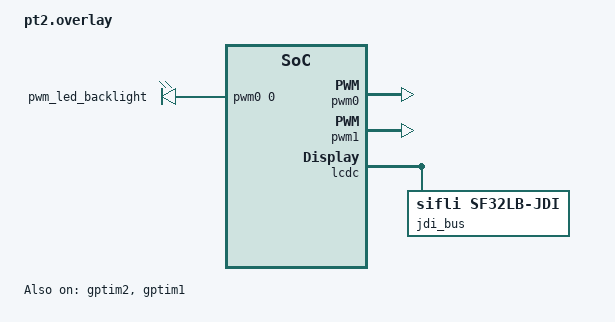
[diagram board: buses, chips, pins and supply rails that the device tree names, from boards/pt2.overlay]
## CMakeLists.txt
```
# Copyright (c) 2026, Qingsong Gou <gouqs@hotmail.com>
# SPDX-License-Identifier: Apache-2.0

cmake_minimum_required(VERSION 3.20.0)
find_package(Zephyr REQUIRED HINTS $ENV{ZEPHYR_BASE})
project(display_random_color)

target_sources(app PRIVATE src/main.c)
```

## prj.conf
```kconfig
# Copyright (c) 2026, Qingsong Gou <gouqs@hotmail.com>
# SPDX-License-Identifier: Apache-2.0

CONFIG_LOG=y
CONFIG_DISPLAY=y
CONFIG_PWM=y
CONFIG_DISPLAY_LOG_LEVEL_DBG=y
```

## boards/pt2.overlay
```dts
/*
 * Copyright (c) 2026 Qingsong Gou <gouqs@hotmail.com>
 * SPDX-License-Identifier: Apache-2.0
 */

#include <zephyr/dt-bindings/pwm/pwm.h>
#include <zephyr/dt-bindings/pinctrl/sf32lb52x-pinctrl.h>

/ {
	chosen {
		zephyr,display = &ls013b7dh03;
	};

	pwmleds {
		compatible = "pwm-leds";

		pwm_led_backlight: pwm_led_backlight {
			pwms = <&pwm0 0 PWM_MSEC(10) PWM_POLARITY_NORMAL>;
		};
	};

	aliases {
		pwm-led0 = &pwm_led_backlight;
	};
};

&pinctrl {
	jdi_default: jdi_default {
		group1 {
			pinmux = <PA02_LCDC1_JDI_B2>,
				 <PA03_LCDC1_JDI_B1>,
				 <PA04_LCDC1_JDI_G1>,
				 <PA05_LCDC1_JDI_R1>,
				 <PA06_LCDC1_JDI_HST>,
				 <PA07_LCDC1_JDI_ENB>,
				 <PA08_LCDC1_JDI_VST>,
				 <PA39_LCDC1_JDI_VCK>,
				 <PA40_LCDC1_JDI_XRST>,
				 <PA41_LCDC1_JDI_HCK>,
				 <PA42_LCDC1_JDI_R2>,
				 <PA43_LCDC1_JDI_G2>;
			input-enable;
			input-schmitt-enable;
		};
	};

	pwm0_default: pwm0_default {
		group1 {
			pinmux = <PA01_GPTIM2_CH1>;
		};
	};

	vcom_pwm_default: vcom_pwm_default {
		group1 {
			pinmux = <PA24_GPTIM1_CH1>, <PA25_GPTIM1_CH2>;
		};
	};
};

&gptim2 {
	status = "okay";
	sifli,prescaler = <23>;

	pwm0: pwm {
		status = "okay";
		pinctrl-0 = <&pwm0_default>;
		pinctrl-names = "default";
	};
};

&gptim1 {
	status = "okay";
	sifli,prescaler = <2399>;

	pwm1: pwm {
		status = "okay";
		pinctrl-0 = <&vcom_pwm_default>;
		pinctrl-names = "default";
	};
};

&lcdc {
	status = "okay";

	jdi_bus: jdi {
		compatible = "sifli,sf32lb-jdi";
		#address-cells = <1>;
		#size-cells = <0>;
		pinctrl-0 = <&jdi_default>;
		pinctrl-names = "default";

		ls013b7dh03: ls013b7dh03@0 {
			compatible = "jdi,parallel";
			reg = <0>;
			width = <200>;
			height = <228>;

			vlcd-gpios = <&gpioa_00_31 29 GPIO_ACTIVE_HIGH>;
			vddp-gpios = <&gpioa_00_31 28 GPIO_ACTIVE_HIGH>;
			power-seq-delay-ms = <11>;
			pwms = <&pwm1 0 PWM_HZ(60) PWM_POLARITY_NORMAL>,
			       <&pwm1 1 PWM_HZ(60) PWM_POLARITY_INVERTED>;
			clock-frequency = <746268>;
			bank_col_head = <2>;
			valid-columns = <200>;
			bank_col_tail = <6>;
			bank_row_head = <0>;
			valid-rows = <228>;
			bank-row-tail = <6>;
			enb-start-col = <3>;
			enb-end-col = <99>;
		};
	};
};
```

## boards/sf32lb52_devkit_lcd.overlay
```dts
/*
 * Copyright (c) 2026 Qingsong Gou <gouqs@hotmail.com>
 * SPDX-License-Identifier: Apache-2.0
 */

#include <zephyr/dt-bindings/pwm/pwm.h>
#include <zephyr/dt-bindings/pinctrl/sf32lb52x-pinctrl.h>

/ {
	chosen {
		zephyr,display = &jdi_bus;
	};

	pwmleds {
		compatible = "pwm-leds";

		pwm_led_backlight: pwm_led_backlight {
			pwms = <&pwm0 0 PWM_MSEC(10) PWM_POLARITY_NORMAL>;
		};
	};

	aliases {
		pwm-led0 = &pwm_led_backlight;
	};
};

&pinctrl {
	jdi_default: jdi_default {
		group1 {
			pinmux = <PA02_LCDC1_JDI_B2>,
				 <PA03_LCDC1_JDI_B1>,
				 <PA04_LCDC1_JDI_G1>,
				 <PA05_LCDC1_JDI_R1>,
				 <PA06_LCDC1_JDI_HST>,
				 <PA07_LCDC1_JDI_ENB>,
				 <PA08_LCDC1_JDI_VST>,
				 <PA39_LCDC1_JDI_VCK>,
				 <PA40_LCDC1_JDI_XRST>,
				 <PA41_LCDC1_JDI_HCK>,
				 <PA42_LCDC1_JDI_R2>,
				 <PA43_LCDC1_JDI_G2>;
			input-enable;
			input-schmitt-enable;
		};
	};

	pwm0_default: pwm0_default {
		group1 {
			pinmux = <PA01_GPTIM2_CH1>;
		};
	};

	vcom_pwm_default: vcom_pwm_default {
		group1 {
			pinmux = <PA24_GPTIM1_CH1>, <PA25_GPTIM1_CH2>;
		};
	};
};

&gptim2 {
	status = "okay";
	sifli,prescaler = <23>;

	pwm0: pwm {
		status = "okay";
		pinctrl-0 = <&pwm0_default>;
		pinctrl-names = "default";
	};
};

&gptim1 {
	status = "okay";
	sifli,prescaler = <2399>;

	pwm1: pwm {
		status = "okay";
		pinctrl-0 = <&vcom_pwm_default>;
		pinctrl-names = "default";
	};
};

&lcdc {
	status = "okay";

	jdi_bus: jdi {
		compatible = "sifli,sf32lb-jdi-parallel";
		#address-cells = <1>;
		#size-cells = <0>;
		pinctrl-0 = <&jdi_default>;
		pinctrl-names = "default";

		width = <260>;
		height = <260>;

		vlcd-gpios = <&gpioa_00_31 9 GPIO_ACTIVE_HIGH>;
		vddp-gpios = <&gpioa_00_31 0 GPIO_ACTIVE_HIGH>;
		power-seq-delay-ms = <11>;
		pwms = <&pwm1 0 PWM_HZ(60) PWM_POLARITY_NORMAL>,
		       <&pwm1 1 PWM_HZ(60) PWM_POLARITY_INVERTED>;
		clock-frequency = <746268>;
		valid-columns = <260>;
		bank-col-tail = <8>;
		valid-rows = <260>;
		bank-row-tail = <4>;
		enb-start-col = <6>;
		enb-end-col = <128>;
	};
};
```

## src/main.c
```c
/*
 * Copyright (c) 2026 Qingsong Gou <gouqs@hotmail.com>
 *
 * SPDX-License-Identifier: Apache-2.0
 */

/**
 * @file
 * @brief Sample application to display random colors on a JDI RGB222 display.
 *
 * This application fills the entire JDI Memory LCD with a random solid
 * RGB222 color every 1 second.
 *
 * JDI parallel interface uses RGB222 format: 2 bits Red, 2 bits Green,
 * 2 bits Blue per pixel (6 bits total). Each pixel is stored in one byte
 * with the 6-bit color value in the lower bits: [unused|RR|GG|BB].
 */

#include <zephyr/cache.h>
#include <zephyr/device.h>
#include <zephyr/drivers/display.h>
#include <zephyr/drivers/pwm.h>
#include <zephyr/kernel.h>
#include <zephyr/logging/log.h>
#include <string.h>

LOG_MODULE_REGISTER(main, LOG_LEVEL_DBG);

static const struct pwm_dt_spec pwm_backlight = PWM_DT_SPEC_GET(DT_ALIAS(pwm_led0));

#define RGB222(r, g, b) (((r) << 4) | ((g) << 2) | (b))
#define RGB332(r, g, b) (((r) << 5) | ((g) << 2) | (b))

#define DISPLAY_WIDTH  260
#define DISPLAY_HEIGHT 260

/* Framebuffer: 1 byte per pixel (RGB222 in lower 6 bits) */
static uint8_t framebuffer[DISPLAY_WIDTH * DISPLAY_HEIGHT];

int main(void)
{
	const struct device *dev = DEVICE_DT_GET(DT_CHOSEN(zephyr_display));
	struct display_capabilities caps;
	uint8_t i = 0;
	int ret;

	if (!device_is_ready(dev)) {
		LOG_ERR("Display device not ready");
		return -ENODEV;
	}

	display_get_capabilities(dev, &caps);

	uint16_t width = caps.x_resolution;
	uint16_t height = caps.y_resolution;
	uint16_t buf_size = width * height;

	LOG_INF("Display: %dx%d RGB222, buffer size: %d bytes", width, height, buf_size);

	struct display_buffer_descriptor desc = {
		.width = width,
		.height = height,
		.pitch = width,
		.buf_size = buf_size,
	};

	if (!pwm_is_ready_dt(&pwm_backlight)) {
		LOG_ERR("PWM device %s is not ready", pwm_backlight.dev->name);
	} else {
		ret = pwm_set_dt(&pwm_backlight, pwm_backlight.period, pwm_backlight.period / 2U);
		if (ret) {
			LOG_ERR("Failed to set backlight PWM: %d", ret);
		} else {
			LOG_INF("Backlight set to 50%% (period=%u nsec, pulse=%u nsec)",
				pwm_backlight.period, pwm_backlight.period / 2U);
		}
	}

	display_blanking_off(dev);

	while (1) {
		uint8_t r = RGB332(6, 0, 0) & 0xFF;
		uint8_t g = RGB332(0, 6, 0) & 0xFF;
		uint8_t b = RGB332(0, 0, 3) & 0xFF;

		uint8_t colors[3] = {r, g, b};

		memset(framebuffer, colors[i], buf_size);
		sys_cache_data_flush_range(framebuffer, buf_size);
		i = (i + 1) % 3;

		ret = display_write(dev, 0, 0, &desc, framebuffer);
		if (ret < 0) {
			LOG_ERR("display_write failed: %d", ret);
		}

		LOG_INF("Color: R=%u G=%u B=%u (0x%02x)", r, g, b, colors[i]);
		k_sleep(K_SECONDS(1));
	}

	return 0;
}
```
